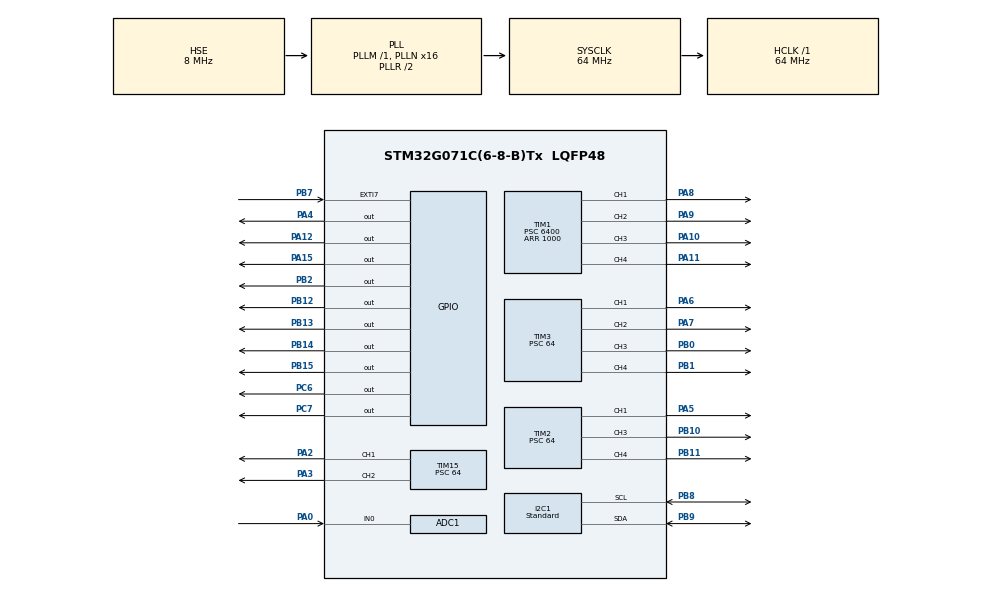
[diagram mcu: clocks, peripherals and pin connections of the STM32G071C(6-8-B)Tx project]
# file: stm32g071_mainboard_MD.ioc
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ADC1.Channel-1\#ChannelRegularConversion=ADC_CHANNEL_0
ADC1.ClockPrescaler=ADC_CLOCK_SYNC_PCLK_DIV2
ADC1.ContinuousConvMode=ENABLE
ADC1.DMAContinuousRequests=ENABLE
ADC1.DiscontinuousConvMode=DISABLE
ADC1.EOCSelection=ADC_EOC_SEQ_CONV
ADC1.NbrOfConversion=1
ADC1.NbrOfConversionFlag=1
ADC1.Overrun=ADC_OVR_DATA_OVERWRITTEN
ADC1.Rank-1\#ChannelRegularConversion=1
ADC1.Resolution=ADC_RESOLUTION_10B
ADC1.SamplingTime-1\#ChannelRegularConversion=ADC_SAMPLINGTIME_COMMON_1
ADC1.SamplingTimeCommon1=ADC_SAMPLETIME_39CYCLES_5
ADC1.SamplingTimeCommon2=ADC_SAMPLETIME_39CYCLES_5
ADC1.Sequencer=FULLY_CONFIGURABLE
ADC1.TriggerFrequencyMode=ADC_TRIGGER_FREQ_HIGH
ADC1.master=1
Dma.ADC1.0.Direction=DMA_PERIPH_TO_MEMORY
Dma.ADC1.0.EventEnable=DISABLE
Dma.ADC1.0.Instance=DMA1_Channel1
Dma.ADC1.0.MemDataAlignment=DMA_MDATAALIGN_HALFWORD
Dma.ADC1.0.MemInc=DMA_MINC_ENABLE
Dma.ADC1.0.Mode=DMA_CIRCULAR
Dma.ADC1.0.PeriphDataAlignment=DMA_PDATAALIGN_HALFWORD
Dma.ADC1.0.PeriphInc=DMA_PINC_DISABLE
Dma.ADC1.0.Polarity=HAL_DMAMUX_REQ_GEN_RISING
Dma.ADC1.0.Priority=DMA_PRIORITY_LOW
Dma.ADC1.0.RequestNumber=1
Dma.ADC1.0.SignalID=NONE
Dma.ADC1.0.SyncEnable=DISABLE
Dma.ADC1.0.SyncPolarity=HAL_DMAMUX_SYNC_NO_EVENT
Dma.ADC1.0.SyncRequestNumber=1
Dma.ADC1.0.SyncSignalID=NONE
Dma.Request0=ADC1
I2C1.Analog_Filter=I2C_ANALOGFILTER_ENABLE
I2C1.CustomTiming=Disabled
I2C1.DualAddressMode=I2C_DUALADDRESS_DISABLE
I2C1.I2C_Coeff_DF=0
I2C1.I2C_Fall_Time=75
I2C1.I2C_Rise_Time=1000
I2C1.I2C_Speed_Mode=I2C_Standard
I2C1.NoStretchMode=I2C_NOSTRETCH_DISABLE
I2C1.OwnAddress=0x1C
I2C1.Speed=100
I2C1.Timing=0xA070161B
Mcu.Family=STM32G0
Mcu.Name=STM32G071C(6-8-B)Tx
Mcu.Package=LQFP48
Mcu.UserConstants=TIM_CUSTOM_PRESC,64;TIM_CUSTOM_SYSCLK,64000000
NVIC.DMA1_Channel1_IRQn=true\:0\:0\:false\:false\:true\:false\:true
NVIC.EXTI4_15_IRQn=true\:0\:0\:true\:false\:true\:true\:true
NVIC.I2C1_IRQn=true\:0\:0\:true\:false\:true\:true\:true
PA0.Mode=IN0
PA0.Signal=ADC1_IN0
PA10.Signal=S_TIM1_CH3
PA11\ [PA9].Signal=S_TIM1_CH4
PA12\ [PA10].Signal=GPIO_Output
PA13.Mode=Serial_Wire
PA13.Signal=SYS_SWDIO
PA14-BOOT0.Mode=Serial_Wire
PA14-BOOT0.Signal=SYS_SWCLK
PA15.Signal=GPIO_Output
PA2.Signal=S_TIM15_CH1
PA3.Signal=S_TIM15_CH2
PA4.Signal=GPIO_Output
PA5.Signal=S_TIM2_CH1
PA6.Signal=S_TIM3_CH1
PA7.Signal=S_TIM3_CH2
PA8.Signal=S_TIM1_CH1
PA9.Signal=S_TIM1_CH2
PB0.Signal=S_TIM3_CH3
PB1.Signal=S_TIM3_CH4
PB10.Signal=S_TIM2_CH3
PB11.Signal=S_TIM2_CH4
PB12.Signal=GPIO_Output
PB13.Signal=GPIO_Output
PB14.Signal=GPIO_Output
PB15.Signal=GPIO_Output
PB2.Signal=GPIO_Output
PB7.GPIO_ModeDefaultEXTI=GPIO_MODE_IT_FALLING
PB7.Signal=GPXTI7
PB8.GPIO_PuPdOD=GPIO_NOPULL
PB8.Mode=I2C
PB8.Signal=I2C1_SCL
PB9.GPIO_PuPdOD=GPIO_NOPULL
PB9.Mode=I2C
PB9.Signal=I2C1_SDA
PC6.Signal=GPIO_Output
PC7.Signal=GPIO_Output
PF0-OSC_IN\ (PF0).Mode=HSE-External-Oscillator
PF0-OSC_IN\ (PF0).Signal=RCC_OSC_IN
PF1-OSC_OUT\ (PF1).Mode=HSE-External-Oscillator
PF1-OSC_OUT\ (PF1).Signal=RCC_OSC_OUT
ProjectManager.HeapSize=0x200
ProjectManager.StackSize=0x400
ProjectManager.TargetToolchain=TrueSTUDIO
RCC.ADCFreq_Value=64000000
RCC.AHBFreq_Value=64000000
RCC.CortexFreq_Value=64000000
RCC.EXTERNAL_CLOCK_VALUE=48000
RCC.HCLKFreq_Value=64000000
RCC.HSE_VALUE=8000000
RCC.HSI_VALUE=16000000
RCC.LSE_VALUE=32768
RCC.PLLN=16
RCC.PLLSourceVirtual=RCC_PLLSOURCE_HSE
RCC.SYSCLKFreq_VALUE=64000000
RCC.SYSCLKSource=RCC_SYSCLKSOURCE_PLLCLK
RCC.VCOOutputFreq_Value=128000000
SH.S_TIM15_CH1.0=TIM15_CH1,PWM Generation1 CH1
SH.S_TIM15_CH2.0=TIM15_CH2,PWM Generation2 CH2
SH.S_TIM1_CH1.0=TIM1_CH1,PWM Generation1 CH1
SH.S_TIM1_CH2.0=TIM1_CH2,PWM Generation2 CH2
SH.S_TIM1_CH3.0=TIM1_CH3,PWM Generation3 CH3
SH.S_TIM1_CH4.0=TIM1_CH4,PWM Generation4 CH4
SH.S_TIM2_CH1.0=TIM2_CH1,PWM Generation1 CH1
SH.S_TIM2_CH3.0=TIM2_CH3,PWM Generation3 CH3
SH.S_TIM2_CH4.0=TIM2_CH4,PWM Generation4 CH4
SH.S_TIM3_CH1.0=TIM3_CH1,PWM Generation1 CH1
SH.S_TIM3_CH2.0=TIM3_CH2,PWM Generation2 CH2
SH.S_TIM3_CH3.0=TIM3_CH3,PWM Generation3 CH3
SH.S_TIM3_CH4.0=TIM3_CH4,PWM Generation4 CH4
TIM1.Channel-PWM\ Generation1\ CH1=TIM_CHANNEL_1
TIM1.Channel-PWM\ Generation2\ CH2=TIM_CHANNEL_2
TIM1.Channel-PWM\ Generation3\ CH3=TIM_CHANNEL_3
TIM1.Channel-PWM\ Generation4\ CH4=TIM_CHANNEL_4
TIM1.Period=1000
TIM1.Prescaler=6400
TIM15.Channel-PWM\ Generation1\ CH1=TIM_CHANNEL_1
TIM15.Channel-PWM\ Generation2\ CH2=TIM_CHANNEL_2
TIM15.Period=TIM_CUSTOM_SYSCLK / TIM_CUSTOM_PRESC / 50
TIM15.Prescaler=64
TIM15.Pulse-PWM\ Generation1\ CH1=1000
TIM15.Pulse-PWM\ Generation2\ CH2=1000
TIM2.Channel-PWM\ Generation1\ CH1=TIM_CHANNEL_1
TIM2.Channel-PWM\ Generation3\ CH3=TIM_CHANNEL_3
TIM2.Channel-PWM\ Generation4\ CH4=TIM_CHANNEL_4
TIM2.Period=TIM_CUSTOM_SYSCLK / TIM_CUSTOM_PRESC / 50
TIM2.Prescaler=64
TIM2.Pulse-PWM\ Generation1\ CH1=1000
TIM2.Pulse-PWM\ Generation3\ CH3=1000
TIM2.Pulse-PWM\ Generation4\ CH4=1000
TIM3.Channel-PWM\ Generation1\ CH1=TIM_CHANNEL_1
TIM3.Channel-PWM\ Generation2\ CH2=TIM_CHANNEL_2
TIM3.Channel-PWM\ Generation3\ CH3=TIM_CHANNEL_3
TIM3.Channel-PWM\ Generation4\ CH4=TIM_CHANNEL_4
TIM3.Period=TIM_CUSTOM_SYSCLK / TIM_CUSTOM_PRESC / 50
TIM3.Prescaler=64
TIM3.Pulse-PWM\ Generation1\ CH1=1000
TIM3.Pulse-PWM\ Generation2\ CH2=1000
TIM3.Pulse-PWM\ Generation3\ CH3=1000
TIM3.Pulse-PWM\ Generation4\ CH4=1000
VP_TIM15_VS_ClockSourceINT.Mode=Internal
VP_TIM1_VS_ClockSourceINT.Mode=Internal
VP_TIM2_VS_ClockSourceINT.Mode=Internal
VP_TIM3_VS_ClockSourceINT.Mode=Internal
board=custom

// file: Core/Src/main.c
/* USER CODE BEGIN Header */
/**
 ******************************************************************************
 * @file           : main.c
 * @brief          : Main program body
 ******************************************************************************
 * @attention
 *
 * <h2><center>&copy; Copyright (c) 2019 STMicroelectronics.
 * All rights reserved.</center></h2>
 *
 * This software component is licensed by ST under BSD 3-Clause license,
 * the "License"; You may not use this file except in compliance with the
 * License. You may obtain a copy of the License at:
 *                        opensource.org/licenses/BSD-3-Clause
 *
 ******************************************************************************
 */
/* USER CODE END Header */

#include "main.h"
#include "adc.h"
#include "dma.h"
#include "i2c.h"
#include "tim.h"
#include "gpio.h"

/* USER CODE BEGIN Includes */
#include "motors_servos.h"
#include "utils.h"
/* USER CODE END Includes */

/* USER CODE BEGIN PTD */
typedef struct SM_memory {
	uint8_t status;
	uint8_t WHO_AM_I;
	uint8_t voltage;
} SM_memory_t;
/* USER CODE END PTD */

/* USER CODE BEGIN PD */
#define I2C_PACKET_LENGTH 10
/* USER CODE END PD */

/* USER CODE BEGIN PV */
volatile uint32_t adc_raw_sensor_data;
volatile uint8_t adc_irq_flag = 0;

driver_t driver_settings;

uint8_t i2c_rx_buffer[I2C_PACKET_LENGTH] = { 0 };
uint8_t i2c_tx_buffer[I2C_PACKET_LENGTH] = { 0 };

SM_memory_t device_memory;

//uint8_t request_code = 0;

volatile uint8_t rx_index = 0;
volatile uint8_t tx_index = 0;
/* USER CODE END PV */

void SystemClock_Config(void);
/* USER CODE BEGIN PFP */
static void StartIT(void);
static void ActivateAndCalibrate_ADC(void);
/* USER CODE END PFP */

int main(void) {

	/* MCU Configuration--------------------------------------------------------*/

	/* Reset of all peripherals, Initializes the Flash interface and the Systick. */
	HAL_Init();

	/* Configure the system clock */
	SystemClock_Config();

	/* Initialize all configured peripherals */
	MX_GPIO_Init();
	MX_DMA_Init();
	MX_TIM1_Init();
	MX_TIM2_Init();
	MX_TIM3_Init();
	MX_TIM15_Init();
	MX_I2C1_Init();
	MX_ADC1_Init();
	/* USER CODE BEGIN 2 */
//	if (HAL_ADCEx_Calibration_Start(&hadc1) != HAL_OK) {
//		Error_Handler();
//	}
//	HAL_ADC_Start_DMA(&hadc1, (uint32_t *) adc_sensor_data, 2);
//	HAL_ADC_Start_IT(&hadc1);
	ActivateAndCalibrate_ADC();

	driver_settings.dc_motors_ports = 0x30
			| ( TERMINAL_ONE | TERMINAL_TWO | TERMINAL_THREE | TERMINAL_FOUR);
	driver_settings.servo_ports = 0x1FF;
	driver_settings.PID_kp = 0.5;
	M_init(&driver_settings);
	S_init(&driver_settings);
	StartIT();

	device_memory.status = SM_OK;
	/* USER CODE END 2 */

	/* Infinite loop */
	while (1) {

		/* USER CODE BEGIN 3 */
//		M_move(MOVE_LEFT, 180);
//		HAL_Delay(2000);
//		M_move(MOVE_FORWARD, 0);
//		HAL_Delay(2000);
//		M_move(MOVE_LEFT, 0);
//		HAL_Delay(2000);
//		M_move(MOVE_RIGHT, 0);
//		HAL_Delay(2000);
		if (i2c_rx_buffer[0] == COMM_INIT/* && old_data_flag == 1*/) {
			i2c_rx_buffer[0] = 0; // disable loop

			uint32_t temp;
			switch (i2c_rx_buffer[1]) {
			case COMM_MOVE:
				device_memory.status = SM_BUSY;
				temp = (i2c_rx_buffer[3] << 8) | i2c_rx_buffer[4];
				M_move(i2c_rx_buffer[2], temp);
				device_memory.status = SM_OK;
				break;
			case COMM_SET_SERVOS_POS:
				device_memory.status = SM_BUSY;
				S_setPosition(i2c_rx_buffer[2], i2c_rx_buffer[3]);
				device_memory.status = SM_OK;
				break;
			case COMM_GET_STATUS:
				i2c_tx_buffer[0] = device_memory.status;
				break;
			case COMM_GET_SENSORS:
				i2c_tx_buffer[0] = device_memory.status;
				i2c_tx_buffer[1] = device_memory.status;
				i2c_tx_buffer[2] = device_memory.status;
				break;
			case COMM_ERROR:
				device_memory.status = SM_ERROR;
				break;
			}
		}

	}

	/* USER CODE END 3 */
}

void SystemClock_Config(void) {
	RCC_OscInitTypeDef RCC_OscInitStruct = { 0 };
	RCC_ClkInitTypeDef RCC_ClkInitStruct = { 0 };
	RCC_PeriphCLKInitTypeDef PeriphClkInit = { 0 };

	/** Configure the main internal regulator output voltage
	 */
	HAL_PWREx_ControlVoltageScaling(PWR_REGULATOR_VOLTAGE_SCALE1);
	/** Initializes the CPU, AHB and APB busses clocks
	 */
	RCC_OscInitStruct.OscillatorType = RCC_OSCILLATORTYPE_HSE;
	RCC_OscInitStruct.HSEState = RCC_HSE_ON;
	RCC_OscInitStruct.PLL.PLLState = RCC_PLL_ON;
	RCC_OscInitStruct.PLL.PLLSource = RCC_PLLSOURCE_HSE;
	RCC_OscInitStruct.PLL.PLLM = RCC_PLLM_DIV1;
	RCC_OscInitStruct.PLL.PLLN = 16;
	RCC_OscInitStruct.PLL.PLLP = RCC_PLLP_DIV2;
	RCC_OscInitStruct.PLL.PLLQ = RCC_PLLQ_DIV2;
	RCC_OscInitStruct.PLL.PLLR = RCC_PLLR_DIV2;
	if (HAL_RCC_OscConfig(&RCC_OscInitStruct) != HAL_OK) {
		Error_Handler();
	}
	/** Initializes the CPU, AHB and APB busses clocks
	 */
	RCC_ClkInitStruct.ClockType = RCC_CLOCKTYPE_HCLK | RCC_CLOCKTYPE_SYSCLK
			| RCC_CLOCKTYPE_PCLK1;
	RCC_ClkInitStruct.SYSCLKSource = RCC_SYSCLKSOURCE_PLLCLK;
	RCC_ClkInitStruct.AHBCLKDivider = RCC_SYSCLK_DIV1;
	RCC_ClkInitStruct.APB1CLKDivider = RCC_HCLK_DIV1;

	if (HAL_RCC_ClockConfig(&RCC_ClkInitStruct, FLASH_LATENCY_2) != HAL_OK) {
		Error_Handler();
	}
	/** Initializes the peripherals clocks
	 */
	PeriphClkInit.PeriphClockSelection = RCC_PERIPHCLK_I2C1 | RCC_PERIPHCLK_ADC
			| RCC_PERIPHCLK_TIM15 | RCC_PERIPHCLK_TIM1;
	PeriphClkInit.I2c1ClockSelection = RCC_I2C1CLKSOURCE_PCLK1;
	PeriphClkInit.AdcClockSelection = RCC_ADCCLKSOURCE_SYSCLK;
	PeriphClkInit.Tim1ClockSelection = RCC_TIM1CLKSOURCE_PCLK1;
	PeriphClkInit.Tim15ClockSelection = RCC_TIM15CLKSOURCE_PCLK1;
	if (HAL_RCCEx_PeriphCLKConfig(&PeriphClkInit) != HAL_OK) {
		Error_Handler();
	}
}

/* USER CODE BEGIN 4 */
//void HAL_ADC_ConvCpltCallback(ADC_HandleTypeDef* hadc) {
////	if (hadc->Instance == hadc1.Instance) {
////		adc_irq_flag = 1;
////	}
//}
void Slave_Ready_To_Transmit_Callback(void) {
	/* Send the Byte requested by the Master */
	LL_I2C_TransmitData8(I2C1, i2c_tx_buffer[tx_index++]);
}

void Slave_Reception_Callback(void) {
	/* Read character in Receive Data register.
	 RXNE flag is cleared by reading data in RXDR register */
	i2c_rx_buffer[rx_index++] = LL_I2C_ReceiveData8(I2C1);
}

void Slave_Complete_Callback(void) {
	tx_index = 0;
	rx_index = 0;
}

static void StartIT(void) {
	LL_I2C_EnableIT_ADDR(I2C1);
	LL_I2C_EnableIT_NACK(I2C1);
	LL_I2C_EnableIT_ERR(I2C1);
	LL_I2C_EnableIT_STOP(I2C1);
}

static void ActivateAndCalibrate_ADC(void) {
	volatile uint32_t wait_loop_index = 0U;
	volatile uint32_t backup_setting_adc_dma_transfer = 0U;

	if (LL_ADC_IsEnabled(ADC1) == 0) {
		LL_ADC_EnableInternalRegulator(ADC1);

		//delay for ADC internal regulator stabilization
		wait_loop_index = ((LL_ADC_DELAY_INTERNAL_REGUL_STAB_US
				* (SystemCoreClock / (100000 * 2))) / 10);
		while (wait_loop_index != 0) {
			wait_loop_index--;
		}

		backup_setting_adc_dma_transfer = LL_ADC_REG_GetDMATransfer(ADC1);
		LL_ADC_REG_SetDMATransfer(ADC1, LL_ADC_REG_DMA_TRANSFER_NONE);
		LL_ADC_StartCalibration(ADC1);

		while (LL_ADC_IsCalibrationOnGoing(ADC1) != 0)
			;

		LL_ADC_REG_SetDMATransfer(ADC1, backup_setting_adc_dma_transfer);
		wait_loop_index = (ADC_DELAY_CALIB_ENABLE_CPU_CYCLES >> 1);
		while (wait_loop_index != 0) {
			wait_loop_index--;
		}

		LL_ADC_Enable(ADC1);
		while (LL_ADC_IsActiveFlag_ADRDY(ADC1) == 0)
			;

	}
}
//void HAL_I2C_SlaveRxCpltCallback(I2C_HandleTypeDef *hi2c) {
////	i2c_ret_code = SM_NOT_RESPOND_ERROR;
////	HAL_I2C_Slave_Transmit(&hi2c1, &i2c_ret_code, 1, 0x1000);
////	HAL_I2C_Slave_Receive_DMA(&hi2c1, i2c_rx_buffer, 10);
//}
//
//uint8_t trans_dir = 0;
//uint16_t slave_receive_index = 0;
//void HAL_I2C_AddrCallback(I2C_HandleTypeDef *hi2c, uint8_t TransferDirection,
//		uint16_t AddrMatchCode) {
//	if(AddrMatchCode == hi2c1.Init.OwnAddress1){
//		trans_dir = TransferDirection;
//		if(trans_dir == I2C_DIRECTION_TRANSMIT){
//			HAL_I2C_Slave_Seq_Receive_IT(&hi2c1, &i2c_rx_buffer[slave_receive_index], 1, I2C_FIRST_FRAME);
//			slave_receive_index++;
//		} else {
//			HAL_I2C_Slave_Seq_Transmit_IT(&hi2c1, &i2c_ret_code, 1, I2C_LAST_FRAME);
//			slave_receive_index = 0;
//		}
//	}
//}
//
//void HAL_I2C_ListenCpltCallback (I2C_HandleTypeDef * hi2c){
//	HAL_I2C_EnableListen_IT(&hi2c1);
//}
/* USER CODE END 4 */

void Error_Handler(void) {
	while (1) {
	}
}

/************************ (C) COPYRIGHT STMicroelectronics *****END OF FILE****/
